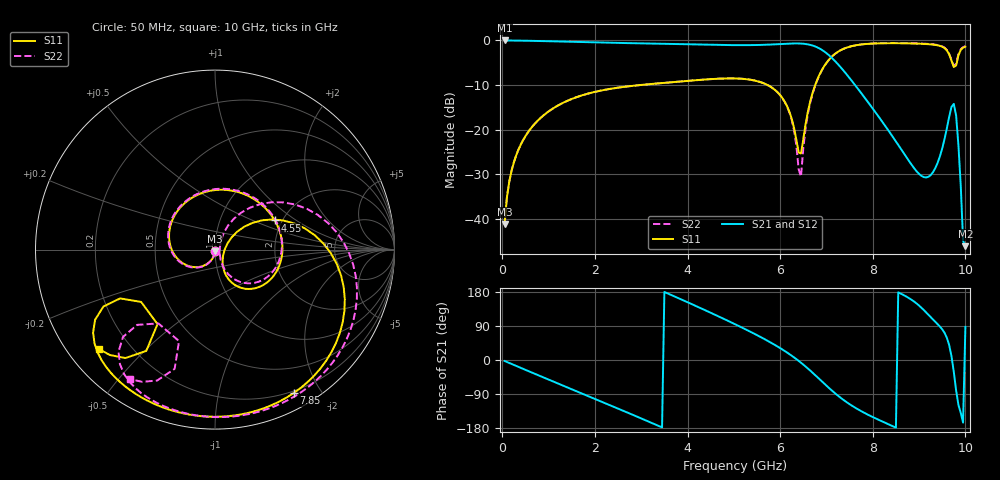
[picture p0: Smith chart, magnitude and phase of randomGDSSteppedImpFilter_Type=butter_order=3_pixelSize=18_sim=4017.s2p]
! freq	dB(S11)	phase(S11)	dB(S12)	phase(S12)
!  dB(S21)	phase(S21)	dB(S22)	phase(S22)
!S-par simulation data
#  GHz  S  DB  R 50
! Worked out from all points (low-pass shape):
!   200 points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, 50 MHz to 10 GHz, reference 50 ohm
!   highest |S21| = -0.01 dB at 50 MHz (marker M1); lowest = -46.0 dB at 10 GHz (marker M2)
!   |S21| within 3 dB of the highest: start of sweep to 7.018 GHz
!   lowest |S11| = -41.1 dB at 50 MHz (marker M3), VSWR 1.02, Z = 50 - j0.879 ohm
!   |S11| at or under -10 dB: start of sweep to 2.962 GHz; 5.731 GHz to 6.756 GHz (1.025 GHz wide, 16.4 % of centre)
!   |S22| runs from -41.1 to -0.6 dB; largest |S21 - S12| = 0
!   S11 on the Smith chart (normalised r, x): 50 MHz: 1.00, -0.02; 4.55 GHz: 1.83, +0.69; 7.85 GHz: 0.18, -1.67; 10 GHz: 0.09, -0.37
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0.05  -41.10 -92.2  -0.01 -2.6  -0.01 -2.6  -41.10 -92.2
0.2  -29.17 -100.6  -0.02 -10.5  -0.02 -10.5  -29.17 -100.3
0.5  -21.42 -116.9  -0.07 -26.0  -0.07 -26.0  -21.42 -116.2
1.75  -12.20 177.5  -0.37 -90.0  -0.37 -90.0  -12.20 -179.3
2.5  -10.57 138.2  -0.56 -128.2  -0.56 -128.2  -10.57 143.5
3.4  -9.58 89.7  -0.74 -175.2  -0.74 -175.2  -9.59 98.1
4.55  -8.63 26.0  -0.99 121.9  -0.99 121.9  -8.63 37.1
5.05  -8.51 -2.3  -1.06 93.1  -1.06 93.1  -8.51 9.0
6.05  -12.92 -60.7  -0.78 27.6  -0.78 27.6  -12.95 -52.6
6.25  -17.54 -67.0  -0.69 11.3  -0.69 11.3  -17.82 -63.8
6.45  -25.30 1.1  -0.70 -7.2  -0.70 -7.2  -30.46 24.5
6.55  -18.67 36.6  -0.80 -17.3  -0.80 -17.3  -19.58 62.4
6.7  -11.75 35.4  -1.14 -33.5  -1.14 -33.5  -11.96 54.6
7.25  -2.53 -16.3  -5.34 -94.3  -5.34 -94.3  -2.53 -1.5
7.85  -0.80 -61.3  -13.16 -141.5  -13.16 -141.5  -0.78 -47.2
8.35  -0.62 -87.7  -20.34 -170.2  -20.34 -170.2  -0.58 -73.5
9.2  -0.84 -125.5  -30.53 119.5  -30.53 119.5  -0.78 -110.4
9.55  -1.70 -145.7  -22.06 71.6  -22.06 71.6  -1.62 -129.7
9.75  -5.94 -144.7  -14.21 -31.6  -14.21 -31.6  -5.71 -127.5
9.85  -3.32 -124.2  -23.53 -118.8  -23.53 -118.8  -3.08 -108.7
9.95  -1.62 -134.9  -44.84 -165.3  -44.84 -165.3  -1.50 -118.9
10  -1.39 -139.4  -46.05 87.5  -46.05 87.5  -1.29 -123.1
